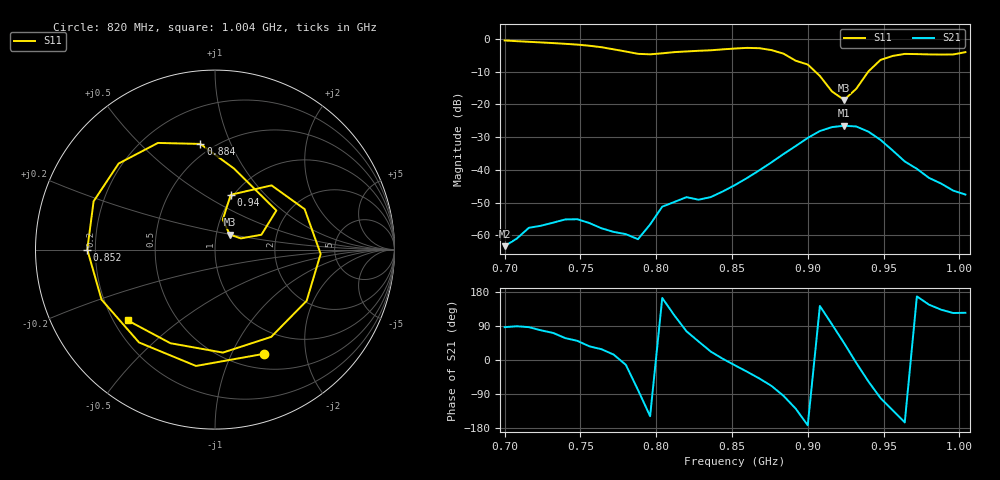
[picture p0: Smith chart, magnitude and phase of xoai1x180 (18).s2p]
# Hz S RI R 50
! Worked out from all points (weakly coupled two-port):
!   39 points, 700 MHz to 1.004 GHz, reference 50 ohm
!   highest |S21| = -26.52 dB at 924 MHz (marker M1); lowest = -63.3 dB at 700 MHz (marker M2)
!   lowest |S11| = -18.6 dB at 924 MHz (marker M3), VSWR 1.27, Z = 58 + j9.86 ohm
!   |S11| at or under -10 dB: 905 MHz to 939.9 MHz (34.98 MHz wide, 3.79 % of centre)
!   S12 and S22 are empty: the file has one direction only
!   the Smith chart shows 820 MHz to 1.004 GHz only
!   S11 on the Smith chart (normalised r, x): 820 MHz: 0.68, -1.34; 852 MHz: 0.17, +0.00; 884 MHz: 0.43, +0.78; 940 MHz: 0.97, +0.66; 1.004 GHz: 0.26, -0.33
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7e8  0.7648 0.5541  3.99e-05 0.000685  0 0  0 0
7.24e8  0.8445 -0.2511  0.000286 0.00138  0 0  0 0
7.4e8  0.4583 -0.7028  0.000936 0.00148  0 0  0 0
7.56e8  -0.1926 -0.7601  0.00125 0.000907  0 0  0 0
7.72e8  -0.6619 -0.1986  0.0011 0.000277  0 0  0 0
7.8e8  -0.5978 0.229  0.00102 -0.000232  0 0  0 0
7.88e8  -0.2467 0.5363  0.000166 -0.00086  0 0  0 0
7.96e8  0.2441 0.5264  -0.00125 -0.000774  0 0  0 0
8.04e8  0.5746 0.1766  -0.00264 0.000768  0 0  0 0
8.2e8  0.2744 -0.5805  0.000946 0.00372  0 0  0 0
8.36e8  -0.4232 -0.5174  0.00356 0.00146  0 0  0 0
8.52e8  -0.7115 0.000452  0.0057 -0.00144  0 0  0 0
8.68e8  -0.5365 0.4799  0.0065 -0.00738  0 0  0 0
8.84e8  -0.0816 0.5887  -0.00137 -0.0174  0 0  0 0
9e8  0.3419 0.2179  -0.0305 -0.00415  0 0  0 0
9.08e8  0.2586 0.0828  -0.0311 0.0238  0 0  0 0
9.24e8  0.0819 0.0838  0.0337 0.033  0 0  0 0
9.4e8  0.0877 0.3054  0.0211 -0.032  0 0  0 0
9.56e8  0.4994 0.2254  -0.0134 -0.0146  0 0  0 0
9.64e8  0.5887 -0.0242  -0.013 -0.00355  0 0  0 0
9.8e8  0.3133 -0.4862  -0.00626 0.00422  0 0  0 0
1.004e9  -0.486 -0.3948  -0.00239 0.00346  0 0  0 0
